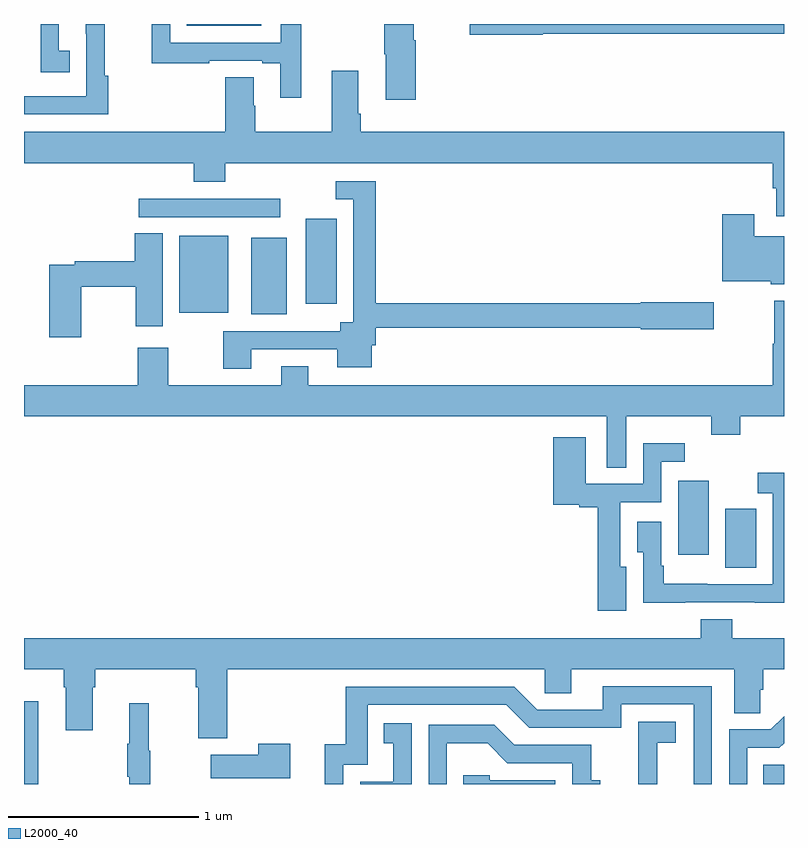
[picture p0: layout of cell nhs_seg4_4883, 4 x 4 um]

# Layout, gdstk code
import gdstk
lib = gdstk.Library(unit=1e-6, precision=1e-09)
def R(c, l, rs):  # rectangles x0, y0, x1, y1
    for r in rs: c.add(gdstk.rectangle(r[:2], r[2:], *l))
def P(c, l, *ps):  # polygons
    for p in ps: c.add(gdstk.Polygon(p, *l))
L2000_40 = (2000, 40)

nhs_seg4_4883 = lib.new_cell('nhs_seg4_4883')
R(nhs_seg4_4883, L2000_40, [(375,778.9,375.076,779.335), (378.892,778.9,379,779.002), (378.692,780.037,378.853,780.348), (378.443,780.107,378.604,780.496), (376.196,781.373,376.384,781.774), (375.818,781.379,376.075,781.786), (376.484,781.428,376.645,781.876), (375.603,781.884,376.348,781.98), (375.856,782.891,376.249,782.9)])
P(nhs_seg4_4883, L2000_40, [(376.459,782.9),(376.35,782.9),(376.35,782.802),(375.771,782.802),(375.771,782.9),(375.673,782.9),(375.673,782.694),(375.974,782.694),(375.974,782.706),(376.253,782.706),(376.253,782.694),(376.349,782.694),(376.349,782.511),(376.459,782.511)],
  [(375.443,782.627),(375.426,782.627),(375.426,782.9),(375.326,782.9),(375.326,782.848),(375.327,782.848),(375.327,782.52),(375,782.52),(375,782.424),(375.443,782.424)],
  [(377.73,782.848),(379,782.848),(379,782.9),(377.346,782.9),(377.346,782.843),(377.73,782.843)],
  [(377.063,782.814),(377.05,782.814),(377.05,782.9),(376.897,782.9),(376.897,782.74),(376.904,782.74),(376.904,782.502),(377.063,782.502)],
  [(375.242,782.759),(375.184,782.759),(375.184,782.9),(375.087,782.9),(375.087,782.646),(375.242,782.646)],
  [(379,782.332),(376.772,782.332),(376.772,782.428),(376.759,782.428),(376.759,782.653),(376.619,782.653),(376.619,782.332),(376.218,782.332),(376.218,782.471),(376.21,782.471),(376.21,782.621),(376.058,782.621),(376.058,782.332),(375,782.332),(375,782.168),(375.893,782.168),(375.893,782.069),(376.058,782.069),(376.058,782.168),(378.942,782.168),(378.942,782.036),(378.959,782.036),(378.959,781.887),(379,781.887)],
  [(376.195,781.188),(376.649,781.188),(376.649,781.094),(376.831,781.094),(376.831,781.208),(376.85,781.208),(376.85,781.302),(378.246,781.302),(378.246,781.294),(378.631,781.294),(378.631,781.436),(378.246,781.436),(378.246,781.43),(376.85,781.43),(376.85,782.073),(376.641,782.073),(376.641,781.977),(376.734,781.977),(376.734,781.33),(376.664,781.33),(376.664,781.284),(376.048,781.284),(376.048,781.086),(376.195,781.086)],
  [(379,781.783),(378.844,781.783),(378.844,781.9),(378.674,781.9),(378.674,781.547),(378.93,781.547),(378.93,781.529),(379,781.529)],
  [(375.3,781.516),(375.589,781.516),(375.589,781.308),(375.73,781.308),(375.73,781.799),(375.584,781.799),(375.584,781.652),(375.268,781.652),(375.268,781.632),(375.134,781.632),(375.134,781.251),(375.3,781.251)],
  [(378.169,780.836),(378.616,780.836),(378.616,780.737),(378.771,780.737),(378.771,780.836),(379,780.836),(379,781.444),(378.949,781.444),(378.949,781.217),(378.942,781.217),(378.942,781),(376.495,781),(376.495,781.099),(376.355,781.099),(376.355,781),(375.759,781),(375.759,781.195),(375.599,781.195),(375.599,781),(375,781),(375,780.836),(378.068,780.836),(378.068,780.565),(378.169,780.565)],
  [(378.169,780.043),(378.139,780.043),(378.139,780.384),(378.354,780.384),(378.354,780.597),(378.478,780.597),(378.478,780.694),(378.258,780.694),(378.258,780.48),(377.956,780.48),(377.956,780.724),(377.786,780.724),(377.786,780.371),(377.922,780.371),(377.922,780.356),(378.021,780.356),(378.021,779.811),(378.169,779.811)],
  [(378.479,779.856),(378.845,779.856),(378.845,779.855),(379,779.855),(379,780.538),(378.861,780.538),(378.861,780.429),(378.942,780.429),(378.942,779.952),(378.596,779.952),(378.596,779.953),(378.367,779.953),(378.367,780.049),(378.354,780.049),(378.354,780.28),(378.227,780.28),(378.227,780.121),(378.258,780.121),(378.258,779.855),(378.479,779.855)],
  [(376.07,779.504),(377.742,779.504),(377.742,779.377),(377.881,779.377),(377.881,779.504),(378.737,779.504),(378.737,779.272),(378.876,779.272),(378.876,779.395),(378.89,779.395),(378.89,779.504),(379,779.504),(379,779.668),(378.728,779.668),(378.728,779.767),(378.563,779.767),(378.563,779.668),(375,779.668),(375,779.504),(375.209,779.504),(375.209,779.408),(375.221,779.408),(375.221,779.184),(375.361,779.184),(375.361,779.408),(375.374,779.408),(375.374,779.504),(375.905,779.504),(375.905,779.408),(375.917,779.408),(375.917,779.142),(376.07,779.142)],
  [(376.68,779.001),(376.809,779.001),(376.809,779.316),(377.538,779.316),(377.658,779.196),(378.144,779.196),(378.144,779.319),(378.525,779.319),(378.525,778.9),(378.621,778.9),(378.621,779.415),(378.047,779.415),(378.047,779.292),(377.7,779.292),(377.58,779.412),(376.693,779.412),(376.693,779.11),(376.583,779.11),(376.583,778.9),(376.68,778.9)],
  [(375.664,779.076),(375.656,779.076),(375.656,779.326),(375.554,779.326),(375.554,779.113),(375.543,779.113),(375.543,778.939),(375.554,778.939),(375.554,778.9),(375.664,778.9)],
  [(378.807,779.091),(378.976,779.091),(379,779.115),(379,779.257),(378.93,779.187),(378.711,779.187),(378.711,778.9),(378.807,778.9)],
  [(378.332,779.117),(378.43,779.117),(378.43,779.227),(378.232,779.227),(378.232,779.021),(378.233,779.021),(378.233,778.9),(378.332,778.9)],
  [(377.04,779.221),(376.894,779.221),(376.894,779.115),(376.943,779.115),(376.943,778.911),(376.77,778.911),(376.77,778.9),(377.04,778.9)],
  [(377.226,779.114),(377.44,779.114),(377.544,779.01),(377.886,779.01),(377.886,778.9),(378.034,778.9),(378.034,778.921),(377.985,778.921),(377.985,779.106),(377.581,779.106),(377.476,779.211),(377.13,779.211),(377.13,778.9),(377.226,778.9)],
  [(376.402,779.113),(376.232,779.113),(376.232,779.053),(375.983,779.053),(375.983,778.931),(376.402,778.931)],
  [(377.796,778.92),(377.451,778.92),(377.451,778.947),(377.311,778.947),(377.311,778.9),(377.796,778.9)])

lib.write_gds('nhs_seg4_4883.gds')
